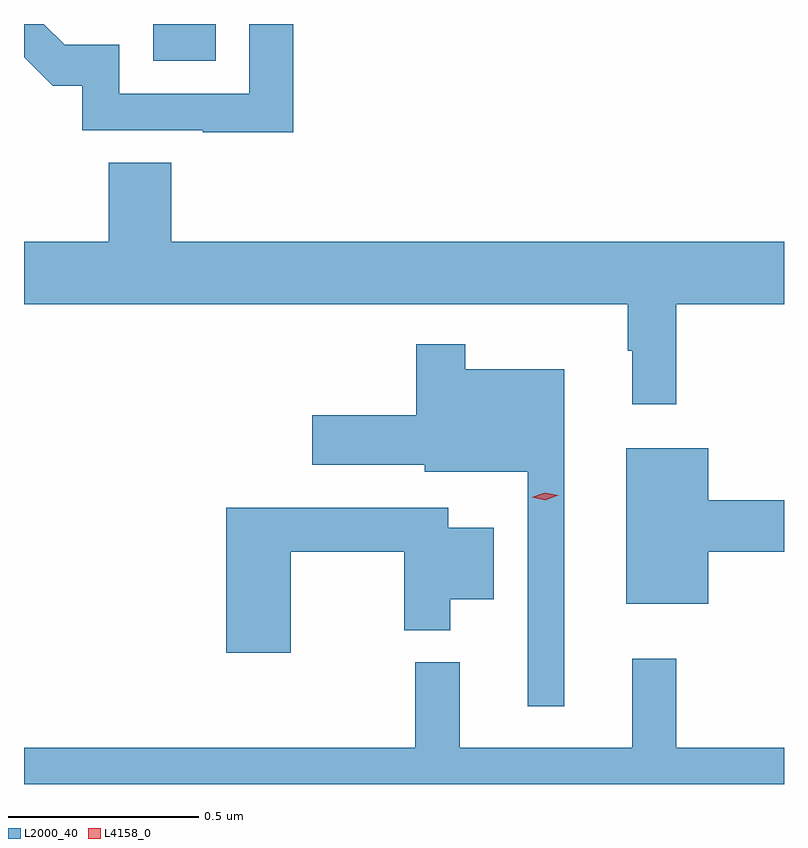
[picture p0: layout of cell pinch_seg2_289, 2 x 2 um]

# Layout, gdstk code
import gdstk
lib = gdstk.Library(unit=1e-6, precision=1e-09)
def R(c, l, rs):  # rectangles x0, y0, x1, y1
    for r in rs: c.add(gdstk.rectangle(r[:2], r[2:], *l))
def P(c, l, *ps):  # polygons
    for p in ps: c.add(gdstk.Polygon(p, *l))
L2000_40 = (2000, 40)
L4158_0 = (4158, 0)

pinch_seg2_289 = lib.new_cell('pinch_seg2_289')
R(pinch_seg2_289, L2000_40, [(900.626,642.948,900.79,643.045)])
P(pinch_seg2_289, L2000_40, [(900.995,643.045),(900.879,643.045),(900.879,642.861),(900.537,642.861),(900.537,642.99),(900.393,642.99),(900.338,643.045),(900.286,643.045),(900.286,642.958),(900.362,642.882),(900.439,642.882),(900.439,642.765),(900.757,642.765),(900.757,642.76),(900.995,642.76)],
  [(902.003,642.308),(902.286,642.308),(902.286,642.472),(900.674,642.472),(900.674,642.68),(900.509,642.68),(900.509,642.472),(900.286,642.472),(900.286,642.308),(901.875,642.308),(901.875,642.185),(901.886,642.185),(901.886,642.045),(902.003,642.045)],
  [(901.708,642.136),(901.447,642.136),(901.447,642.202),(901.318,642.202),(901.318,642.015),(901.044,642.015),(901.044,641.885),(901.341,641.885),(901.341,641.867),(901.611,641.867),(901.611,641.25),(901.708,641.25)],
  [(902.086,641.656),(902.286,641.656),(902.286,641.792),(902.086,641.792),(902.086,641.929),(901.871,641.929),(901.871,641.519),(902.086,641.519)],
  [(900.988,641.656),(901.286,641.656),(901.286,641.45),(901.408,641.45),(901.408,641.531),(901.522,641.531),(901.522,641.719),(901.402,641.719),(901.402,641.772),(900.818,641.772),(900.818,641.391),(900.988,641.391)],
  [(902.286,641.14),(902.003,641.14),(902.003,641.374),(901.886,641.374),(901.886,641.14),(901.433,641.14),(901.433,641.365),(901.315,641.365),(901.315,641.14),(900.286,641.14),(900.286,641.045),(902.286,641.045)])
P(pinch_seg2_289, L4158_0, [(901.658,641.792),(901.622,641.8),(901.621,641.8),(901.622,641.8),(901.656,641.812),(901.692,641.805),(901.693,641.805),(901.692,641.805)])

lib.write_gds('pinch_seg2_289.gds')
